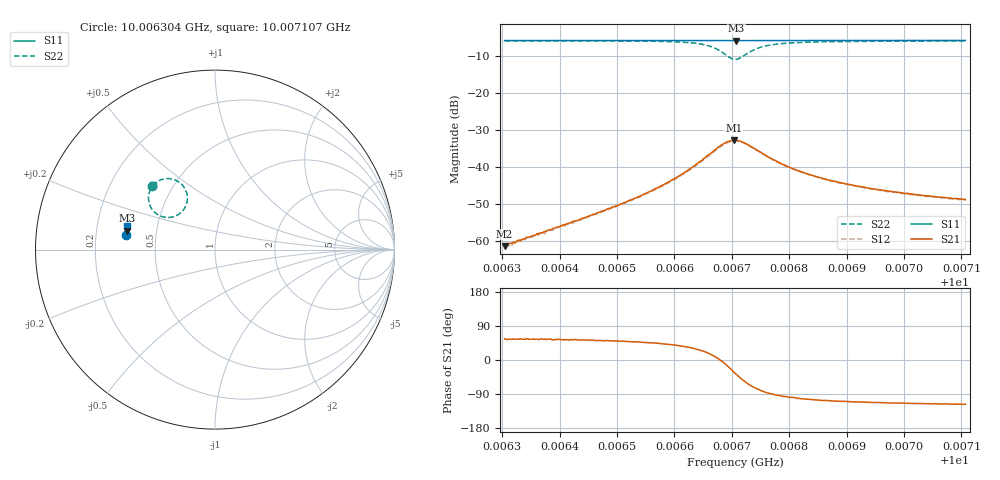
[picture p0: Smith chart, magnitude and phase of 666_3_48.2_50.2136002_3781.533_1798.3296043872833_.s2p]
#  HZ  S  RI  R  50.00
! Rohde & Schwarz Vector Network Analyzer
! Rohde-Schwarz,ZNB20-2Port,1311601062101988,3.16
! Created: UTC 3/20/2024, 12:05:57 PM
! freq[Hz]  re:S11  im:S11  re:S21  im:S21  re:S12  im:S12  re:S22  im:S22
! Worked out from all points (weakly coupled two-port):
!   401 points, 10.006304 GHz to 10.007107 GHz, reference 50 ohm
!   highest |S21| = -32.84 dB at 10.006703 GHz (marker M1); lowest = -61.4 dB at 10.006304 GHz (marker M2)
!   lowest |S11| = -6.0 dB at 10.006708 GHz (marker M3), VSWR 3.02, Z = 16.7 + j4.68 ohm
!   |S11| at or under -10 dB: nowhere
!   |S22| runs from -11.0 to -6.0 dB; largest |S21 - S12| = 0.0019
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1.00063042e10  -0.4975 0.0797  0.00048 0.000706  0.000441 0.000733  -0.3502 0.3566
1.00063142e10  -0.4975 0.0802  0.000528 0.000765  0.000426 0.000796  -0.3494 0.3575
1.00063443e10  -0.4972 0.0823  0.00062 0.000923  0.00058 0.000936  -0.3464 0.3603
1.00063544e10  -0.4971 0.0829  0.000682 0.000975  0.000598 0.000973  -0.3455 0.3611
1.00064386e10  -0.4962 0.0885  0.00121 0.00161  0.00109 0.00163  -0.3355 0.3697
1.00065109e10  -0.4954 0.0933  0.0021 0.00249  0.00195 0.0025  -0.3219 0.3794
1.00065731e10  -0.4946 0.0975  0.00383 0.00368  0.00357 0.00374  -0.2998 0.3897
1.00066152e10  -0.494 0.1003  0.00661 0.00479  0.00612 0.00498  -0.2699 0.3959
1.00066573e10  -0.4929 0.1032  0.0133 0.00452  0.0126 0.005  -0.2068 0.3806
1.00066714e10  -0.4922 0.104  0.017 0.0024  0.0162 0.00332  -0.1768 0.3541
1.00066854e10  -0.4916 0.1043  0.0203 -0.00235  0.0198 -0.00113  -0.1549 0.3032
1.00067035e10  -0.4912 0.1046  0.0194 -0.0121  0.0197 -0.0103  -0.1801 0.2164
1.00067055e10  -0.4913 0.1047  0.0187 -0.0129  0.0193 -0.0112  -0.1877 0.2085
1.00067075e10  -0.4911 0.1047  0.0181 -0.0138  0.0187 -0.0121  -0.1959 0.2014
1.00067256e10  -0.4918 0.1053  0.0101 -0.0176  0.0112 -0.0167  -0.2791 0.1801
1.00067396e10  -0.4922 0.106  0.00515 -0.0168  0.00619 -0.0164  -0.3254 0.1992
1.00067537e10  -0.4923 0.1071  0.002 -0.0149  0.00289 -0.0147  -0.3507 0.2247
1.00067918e10  -0.4923 0.1098  -0.00112 -0.0105  -0.000601 -0.0103  -0.3702 0.2765
1.00068399e10  -0.4918 0.1132  -0.00189 -0.0074  -0.00151 -0.0074  -0.3683 0.3097
1.00068901e10  -0.4913 0.1166  -0.00198 -0.00573  -0.00165 -0.00577  -0.3627 0.328
1.00069744e10  -0.4902 0.1221  -0.00186 -0.00429  -0.00161 -0.00432  -0.3542 0.3453
1.00071068e10  -0.4882 0.1306  -0.00162 -0.00323  -0.00144 -0.00328  -0.3435 0.3608
